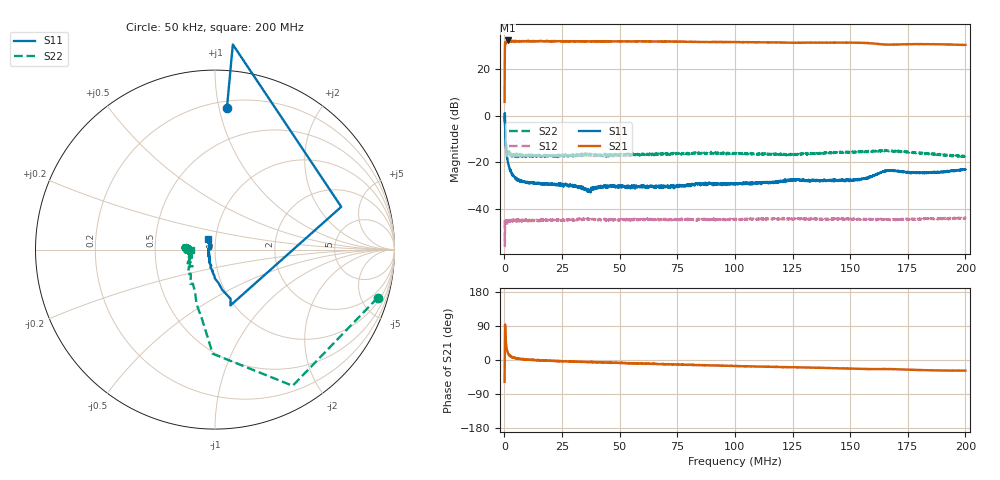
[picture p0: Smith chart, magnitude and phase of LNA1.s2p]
! 19-Feb-26 1:25:12 PM
! E:\VNA_MEASUREMENTS\RECBLOCK\LNA1.S2P
! CHANNEL.1
! TR.MEASUREMENT
! CORRECTED.DATA
# GHZ S RI R 50.0
! FREQ.GHZ  S11RE  S11IM  S21RE  S21IM  S12RE  S12IM  S22RE  S22IM
!; PortSelection: Port_12
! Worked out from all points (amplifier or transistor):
!   2000 points, 50 kHz to 200 MHz, reference 50 ohm
!   highest |S21| = 32.4 dB at 1.35 MHz (marker M1)
!   |S21| within 3 dB of that: 202.2 kHz to end of sweep
!   unconditionally stable (mu >= 1): start of sweep to 51.54 kHz; 269.1 kHz to end of sweep
!   at 33.36 MHz: K = 2.09, MAG = 32.1 dB, |S12| = -44.2 dB
!   at 100.1 MHz: K = 2.21, MAG = 31.9 dB, |S12| = -44.4 dB
!   at 200 MHz: K = 2.48, MAG = 30.6 dB, |S12| = -44.3 dB
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5e-05  0.0666 0.791  1.069 -1.687  0.00533 0.00213  0.906 -0.2685
0.000550125  0.0397 -0.2234  23.82 29.53  0.00381 0.00388  -0.1115 -0.2345
0.001150275  -0.0159 -0.1185  35.75 16.71  0.00407 0.00186  -0.1502 -0.1362
0.0012503  -0.0129 -0.118  37.02 16.35  0.00482 0.00236  -0.1456 -0.0959
0.001350325  -0.0213 -0.1076  39.04 15.12  0.00526 0.00188  -0.1244 -0.0917
0.001550375  -0.0231 -0.0931  38.7 11.91  0.00496 0.00264  -0.1459 -0.0643
0.00185045  -0.0257 -0.0808  39.47 9.403  0.00487 0.00155  -0.1488 -0.0734
0.0024506  -0.0325 -0.0638  39.44 7.571  0.00531 0.00117  -0.1417 -0.0533
0.002750675  -0.0324 -0.0542  40.53 6.528  0.00511 0.00151  -0.1443 -0.036
0.004051001  -0.0324 -0.0378  40.3 4.372  0.00552 0.000799  -0.1369 -0.0299
0.006351576  -0.035 -0.021  40.24 1.685  0.00533 0.00099  -0.1397 -0.00773
0.01585395  -0.0333 -0.00178  41.24 -1.009  0.00571 0.000315  -0.1356 -0.0167
0.03345835  -0.0248 0.0112  39.88 -3.524  0.00572 0.000237  -0.1398 -0.0134
0.06676668  -0.0264 0.016  38.92 -7.479  0.00596 -0.000239  -0.1507 -0.00893
0.08407101  -0.0283 0.0192  38 -8.902  0.00592 -0.000457  -0.1535 -0.00612
0.100075  -0.0262 0.0213  37.18 -10.71  0.006 -0.000487  -0.1521 -0.00217
0.1250813  -0.0287 0.0294  35.28 -12.21  0.0058 -0.000861  -0.1436 -0.0103
0.1333833  -0.0293 0.0301  35.29 -12.99  0.00613 -0.000984  -0.158 -0.01
0.1553888  -0.0276 0.0338  34.19 -14.84  0.00586 -0.00128  -0.1675 -0.00236
0.1666917  -0.0435 0.0504  31.24 -13.68  0.00581 -0.0011  -0.1723 0.0188
0.1833958  -0.0353 0.0484  31.1 -15.64  0.00595 -0.00139  -0.1525 0.0193
0.2  -0.0363 0.0603  29.55 -15.78  0.00591 -0.00159  -0.1333 -0.00133
